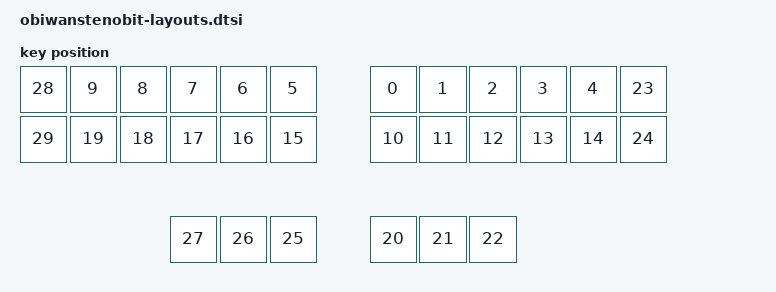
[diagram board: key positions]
/*
 * Copyright (c) 2026 The ZMK Contributors
 *
 * SPDX-License-Identifier: MIT
 */
 
 #include <physical_layouts.dtsi>

/ {
    k30_layout: k30_layout {
        compatible = "zmk,physical-layout";
        display-name = "30 Keys Layout";
        
        kscan = <&kscan0>;
        transform = <&k30_transform>;

        keys  //                     w   h    x    y     rot    rx    ry
            = <&key_physical_attrs 100 100  700    0       0     0     0>
            , <&key_physical_attrs 100 100  800    0       0     0     0>
            , <&key_physical_attrs 100 100  900    0       0     0     0>
            , <&key_physical_attrs 100 100 1000    0       0     0     0>
            , <&key_physical_attrs 100 100 1100    0       0     0     0>
            , <&key_physical_attrs 100 100  500    0       0     0     0>
            , <&key_physical_attrs 100 100  400    0       0     0     0>
            , <&key_physical_attrs 100 100  300    0       0     0     0>
            , <&key_physical_attrs 100 100  200    0       0     0     0>
            , <&key_physical_attrs 100 100  100    0       0     0     0>
            , <&key_physical_attrs 100 100  700  100       0     0     0>
            , <&key_physical_attrs 100 100  800  100       0     0     0>
            , <&key_physical_attrs 100 100  900  100       0     0     0>
            , <&key_physical_attrs 100 100 1000  100       0     0     0>
            , <&key_physical_attrs 100 100 1100  100       0     0     0>
            , <&key_physical_attrs 100 100  500  100       0     0     0>
            , <&key_physical_attrs 100 100  400  100       0     0     0>
            , <&key_physical_attrs 100 100  300  100       0     0     0>
            , <&key_physical_attrs 100 100  200  100       0     0     0>
            , <&key_physical_attrs 100 100  100  100       0     0     0>
            , <&key_physical_attrs 100 100  700  300       0     0     0>
            , <&key_physical_attrs 100 100  800  300       0     0     0>
            , <&key_physical_attrs 100 100  900  300       0     0     0>
            , <&key_physical_attrs 100 100 1200    0       0     0     0>
            , <&key_physical_attrs 100 100 1200  100       0     0     0>
            , <&key_physical_attrs 100 100  500  300       0     0     0>
            , <&key_physical_attrs 100 100  400  300       0     0     0>
            , <&key_physical_attrs 100 100  300  300       0     0     0>
            , <&key_physical_attrs 100 100    0    0       0     0     0>
            , <&key_physical_attrs 100 100    0  100       0     0     0>
            ;
    };
};
